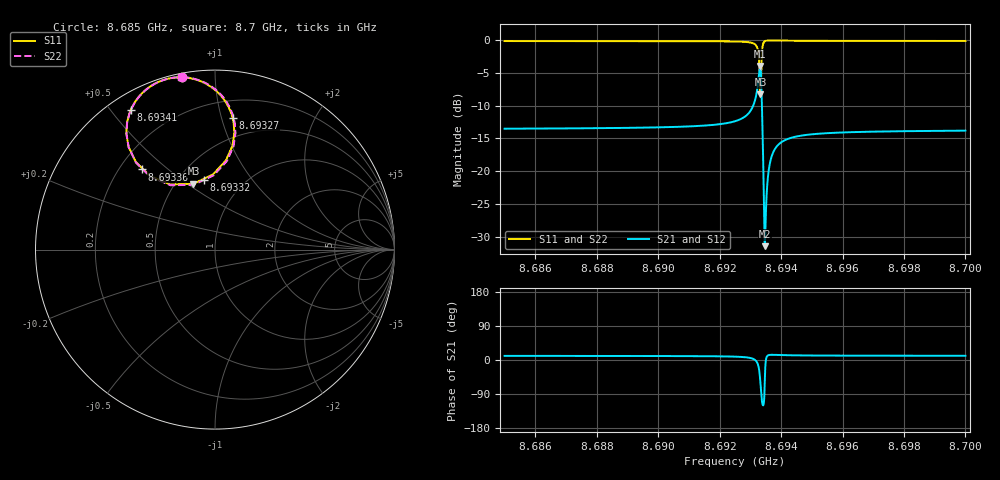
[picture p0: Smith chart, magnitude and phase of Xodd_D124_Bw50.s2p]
! Sonnet Data File
! From: emgraph Version : 16.52
! From Emgraph Data: Qubit_Xmon2_brg
! Data File Written: 10/24/2017 15:34:20
!< HDATE 10/24/2017 15:15:31
!< MDATE 10/24/2017 15:15:31
!< PARAMS
!< Lj = 11.0
!< Gap = 6.0
!< Pwid = 2000.0
!< Width = 10.0
!< Bwid = 50.0
!< Dis1 = 124.0
!< END PARAMS
# GHZ S MA R 34.70000
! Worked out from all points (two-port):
!   3001 points, 8.685 GHz to 8.7 GHz, reference 34.7 ohm
!   highest |S21| = -3.98 dB at 8.69332 GHz (marker M1); lowest = -31.4 dB at 8.69347 GHz (marker M2)
!   |S21| within 3 dB of the highest: 8.693241 GHz to 8.693359 GHz (118.2 kHz wide, 0.00136 % of centre)
!   lowest |S11| = -8.3 dB at 8.69333 GHz (marker M3), VSWR 2.26, Z = 21.3 + j18.3 ohm
!   |S11| at or under -10 dB: nowhere
!   |S22| runs from -8.4 to -0.1 dB; largest |S21 - S12| = 0
!   S11 on the Smith chart (normalised r, x): 8.685 GHz: 0.02, +0.82; 8.69327 GHz: 0.33, +1.09; 8.69332 GHz: 0.66, +0.61; 8.69336 GHz: 0.29, +0.41; 8.69341 GHz: 0.06, +0.56; 8.7 GHz: 0.02, +0.82
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8.685  0.9775 101.0  0.2109 10.8  0.2109 10.8  0.9775 100.7
!< P1 F=8.685 Eeff=(5.13559215 -5.6621e-5) Z0=(34.6542042 -9.3986e-5) R=0.0 C=0.0
!< P2 F=8.685 Eeff=(5.13559215 -5.6621e-5) Z0=(34.6542042 -9.3986e-5) R=0.0 C=0.0
8.6875  0.9772 100.9  0.2123 10.7  0.2123 10.7  0.9772 100.6
8.69  0.9764 100.6  0.2159 10.5  0.2159 10.5  0.9764 100.4
8.6925  0.9699 99.2  0.2404 8.9  0.2404 8.9  0.9699 98.9
8.692905  0.9599 97.4  0.2702 6.7  0.2702 6.7  0.9599 97.1
8.69313  0.9304 93.6  0.3335 1.3  0.3335 1.3  0.9303 93.3
8.69321  0.8844 89.6  0.4009 -5.2  0.4009 -5.2  0.8842 89.2
8.693275  0.7405 82.3  0.5263 -20.9  0.5263 -20.9  0.7394 81.9
8.69332  0.419 91.5  0.6321 -52.9  0.6321 -52.9  0.4145 90.9
8.693325  0.3926 99.0  0.629 -58.3  0.629 -58.3  0.3875 98.6
8.69333  0.3857 108.2  0.6192 -64.0  0.6192 -64.0  0.3803 107.9
8.693355  0.6038 132.3  0.4764 -92.0  0.4764 -92.0  0.6008 132.5
8.693405  0.9074 121.2  0.1657 -118.9  0.1657 -118.9  0.9067 121.2
8.69344  0.9574 115.7  0.06222 -112.3  0.06222 -112.3  0.957 115.5
8.69347  0.9736 112.7  0.027 -55.9  0.027 -55.9  0.9734 112.6
8.693515  0.9832 109.9  0.05597 3.9  0.05597 3.9  0.9831 109.8
8.693585  0.9872 107.5  0.09659 12.6  0.09659 12.6  0.9871 107.3
8.693635  0.9877 106.5  0.1149 13.5  0.1149 13.5  0.9876 106.3
8.69384  0.9862 104.3  0.1526 13.4  0.1526 13.4  0.9862 104.1
8.695  0.9814 102.0  0.1912 11.9  0.1912 11.9  0.9814 101.8
8.6975  0.9795 101.4  0.2012 11.3  0.2012 11.3  0.9795 101.2
8.7  0.979 101.3  0.2038 11.1  0.2038 11.1  0.979 101.0
